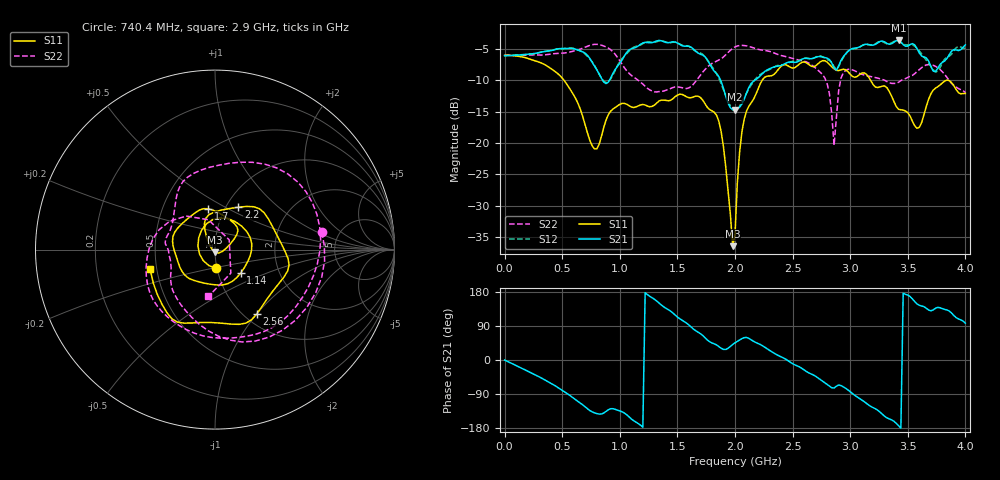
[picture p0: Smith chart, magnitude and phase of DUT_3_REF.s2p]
# Hz S DB R 50
! CMT, S5180, 51801906, 22.3.3/1
! Date: 09/01/2023 11:19:51
! Data: Format (Calibration Info)
! Freq	S11:dB/Ang(F2)	S21:dB/Ang(F2)	S12:dB/Ang(F2)	S22:dB/Ang(F2)
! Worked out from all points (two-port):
!   201 points, 500 kHz to 4 GHz, reference 50 ohm
!   highest |S21| = -3.62 dB at 3.42 GHz (marker M1); lowest = -14.7 dB at 2 GHz (marker M2)
!   |S21| within 3 dB of the highest: start of sweep to 744 MHz; 2.926 GHz to 3.669 GHz (742.9 MHz wide, 22.5 % of centre)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
!   lowest |S11| = -36.5 dB at 1.98 GHz (marker M3), VSWR 1.03, Z = 49.9 - j1.49 ohm
!   |S11| at or under -10 dB: 516.7 MHz to 2.236 GHz (1.719 GHz wide, 125 % of centre); 3.178 GHz to 3.833 GHz (655 MHz wide, 18.7 % of centre); 3.854 GHz to end of sweep
!   |S22| runs from -20.4 to -4.2 dB; largest |S21 - S12| = 0.05
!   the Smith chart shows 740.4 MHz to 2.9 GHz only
!   S11 on the Smith chart (normalised r, x): 740.4 MHz: 0.99, -0.21; 1.14 GHz: 1.28, -0.35; 1.7 GHz: 0.84, +0.40; 2.2 GHz: 1.14, +0.58; 2.56 GHz: 1.13, -1.00; 2.9 GHz: 0.46, -0.12
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500000  -6.00 179.9  -6.04 -0.1  -6.04 -0.1  -6.00 179.9
3.2046e8  -7.23 97.7  -5.46 -47.7  -5.47 -47.9  -5.95 118.5
6.80415e8  -15.88 -35.8  -5.46 -118.8  -5.49 -119.2  -4.84 29.4
7.404075e8  -19.57 -87.7  -6.51 -133.4  -6.57 -132.2  -4.39 9.3
9.20385e8  -14.93 80.5  -9.64 -128.6  -9.77 -129.9  -5.08 -66.2
1.140358e9  -14.24 -42.6  -4.72 -163.9  -4.56 -164.6  -9.71 -136.2
1.340332e9  -13.29 -132.2  -3.62 150.5  -3.69 151.5  -11.79 -172.4
1.700288e9  -12.73 99.6  -5.82 69.5  -5.62 69.4  -9.16 128.9
1.880265e9  -18.20 29.2  -10.18 31.0  -10.56 30.9  -6.55 87.6
1.980252e9  -36.48 -93.7  -14.66 41.0  -14.68 38.6  -4.88 52.9
2.00025e9  -34.69 169.1  -14.68 45.2  -14.93 44.7  -4.65 46.0
2.060242e9  -18.22 117.2  -13.76 56.4  -13.40 57.3  -4.41 25.7
2.200225e9  -11.37 61.0  -9.60 43.6  -9.35 44.0  -5.03 -21.8
2.56018e9  -7.36 -57.3  -6.86 -18.3  -6.80 -19.2  -6.76 -125.1
2.680165e9  -7.81 -93.1  -6.45 -39.5  -6.48 -39.1  -7.74 -158.8
2.860142e9  -8.15 -151.4  -8.03 -73.9  -7.81 -73.6  -20.36 34.4
2.900138e9  -8.43 -163.2  -7.65 -65.8  -7.78 -66.6  -11.60 -97.9
3.000125e9  -9.01 -177.5  -5.07 -83.8  -5.09 -84.1  -8.22 -175.0
3.340082e9  -11.79 108.9  -4.23 -155.6  -4.16 -154.7  -10.39 111.1
3.420072e9  -14.61 92.3  -3.62 -173.6  -3.74 -173.6  -10.29 96.3
3.700038e9  -12.16 88.3  -7.75 129.7  -7.72 131.9  -7.49 -7.6
4e9  -12.08 -18.5  -4.32 97.2  -4.87 97.2  -11.95 178.9
